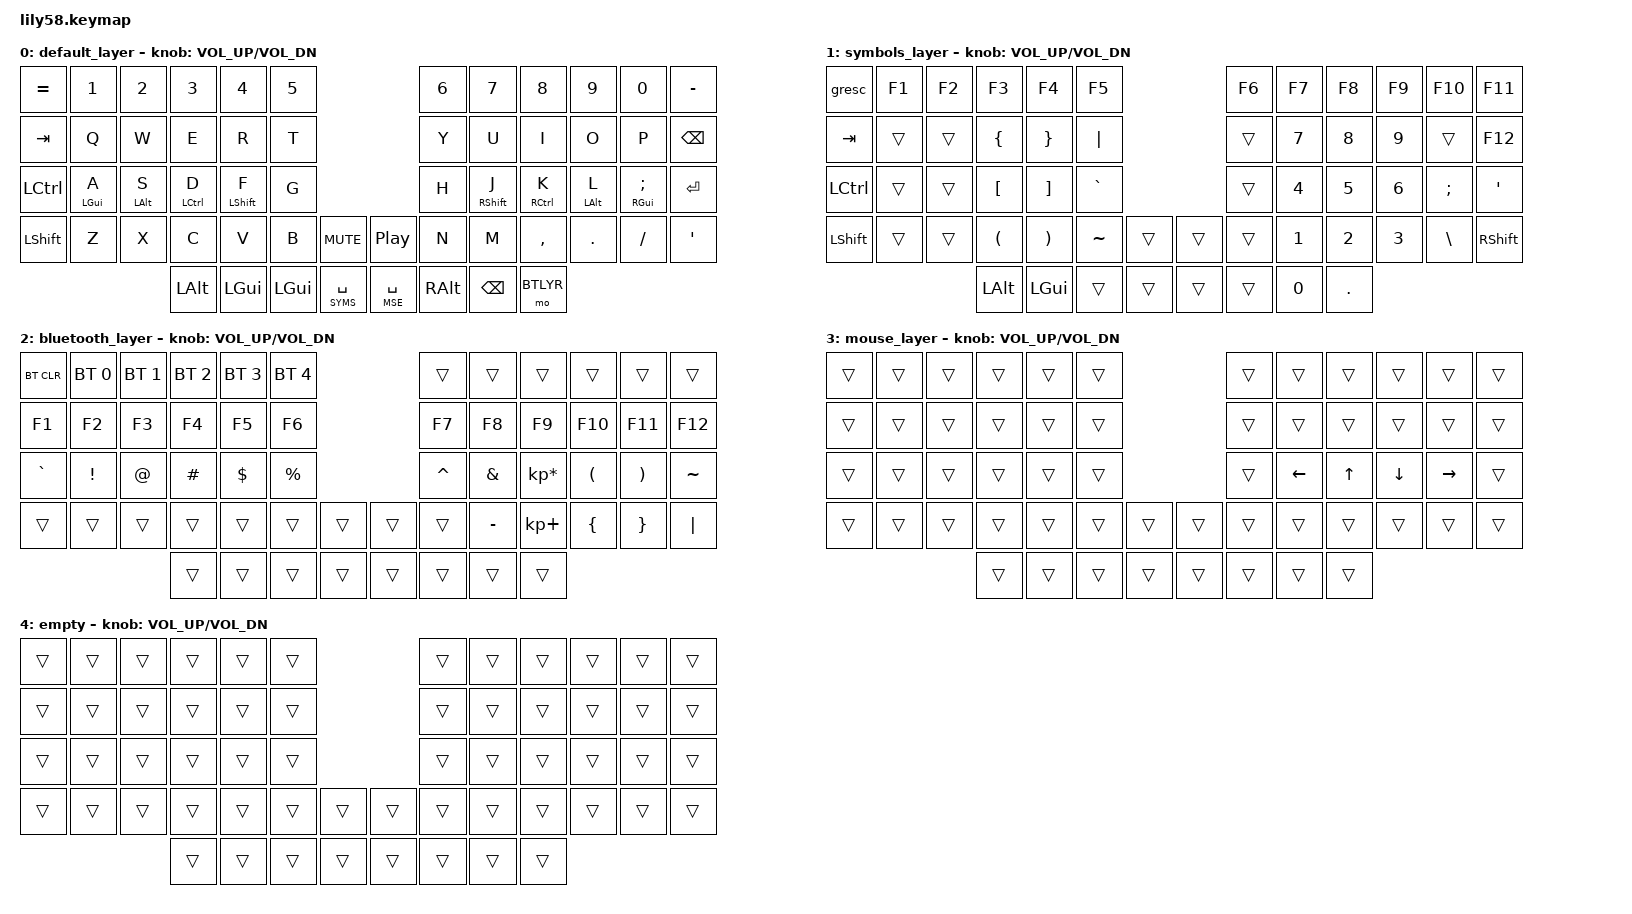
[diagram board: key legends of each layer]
/*
 * Copyright (c) 2020 The ZMK Contributors
 *
 * SPDX-License-Identifier: MIT
 */

#include <behaviors.dtsi>
#include <dt-bindings/zmk/keys.h>
#include <dt-bindings/zmk/bt.h>
#include <dt-bindings/zmk/outputs.h>
#include <dt-bindings/zmk/ext_power.h>

// Layer aliases
#define DEFAULT 0
#define SYMS 1
#define BTLYR 2
#define MSE 3
#define EMPTY 4

// Define our mod-tap behaviour
&mt {
	flavor = "tap-preferred";
	tapping-term-ms = <300>;
};

// Define our layer-tap behaviour
&lt {
    flavor = "balanced";
    tapping-term-ms = <300>;
};
// Keymaps!
/ {
	keymap {
		compatible = "zmk,keymap";

		default_layer {
			bindings = <
// ╭──────────┬───────────┬───────────┬────────────┬───────────┬───────────╮					  	  		  ╭───────────┬────────────┬───────────┬───────────┬─────────────┬───────────────╮
	&kp EQUAL	&kp N1 		&kp N2 		&kp N3   		&kp N4 		&kp N5                        	  		    &kp N6		&kp N7			&kp N8		&kp N9		&kp N0			&kp MINUS
// ├──────────┼───────────┼───────────┼────────────┼───────────┼───────────┤					  	  		  ├───────────┼────────────┼───────────┼───────────┼─────────────┼───────────────┤
	&kp TAB		&kp Q  		&kp W  		&kp E    		&kp R  		&kp T                         	  		    &kp Y		&kp U			&kp I		&kp O		&kp P			&kp BSPC
// ├──────────┼───────────┼───────────┼────────────┼───────────┼───────────┤					  	  		  ├───────────┼────────────┼───────────┼───────────┼─────────────┼───────────────┤
	&kp LCTRL  	&mt LGUI A  &mt LALT S  &mt LCTRL D	&mt LSHIFT F	&kp G                         	  		    &kp H		&mt RSHIFT J	&mt RCTRL K	&mt LALT L  &mt RGUI SEMI	&kp RET
// ├──────────┼───────────┼───────────┼────────────┼───────────┼───────────┼──────────────╮		╭─────────────┼───────────┼────────────┼───────────┼───────────┼─────────────┼───────────────┤
	 &kp LSHFT	&kp Z	  	&kp X	    &kp C	  	&kp V	  		&kp B 	  &kp C_MUTE				&kp C_PP	&kp N	  	&kp M	  		&kp COMMA	  &kp DOT	  &kp SLASH	  	&kp SQT
// ╰──────────┴───────────┴───────────┼────────────┼───────────┼───────────┼──────────────┤		├─────────────┼───────────┼────────────┼───────────┼───────────┴─────────────┴───────────────╯
                        				&kp LALT 	&kp LGUI 	&kp LGUI 	&lt SYMS SPACE		 &lt MSE SPACE	&kp RALT	&kp BSPC	&mo BTLYR
// 									  ╰────────────┴───────────┴───────────┴──────────────╯		╰─────────────┴───────────┴────────────┴───────────╯

			>;
			sensor-bindings = <&inc_dec_kp C_VOL_UP C_VOL_DN>;
		};

		symbols_layer {
			bindings = <
// ╭──────────┬───────────┬───────────┬────────────┬───────────┬───────────╮					  	  		  ╭───────────┬────────────┬───────────┬───────────┬─────────────┬───────────────╮
   	&gresc   	&kp F1		&kp F2		&kp F3		  &kp F4	 &kp F5											&kp F6		 &kp F7		  &kp F8	  &kp F9	  &kp F10		&kp F11
// ├──────────┼───────────┼───────────┼────────────┼───────────┼───────────┤					  	  		  ├───────────┼────────────┼───────────┼───────────┼─────────────┼───────────────┤
	&kp TAB		&trans		&trans		&kp LBRC	  &kp RBRC	 &kp PIPE										&trans		&kp N7		  &kp N8		&kp N9		&trans		&kp F12
// ├──────────┼───────────┼───────────┼────────────┼───────────┼───────────┤					  	  		  ├───────────┼────────────┼───────────┼───────────┼─────────────┼───────────────┤
	&kp LCTRL	 &trans		&trans		&kp LBKT	  &kp RBKT	 &kp GRAVE										&trans 		&kp N4		  &kp N5		&kp N6		&kp SEMI	&kp SQT
// ├──────────┼───────────┼───────────┼────────────┼───────────┼───────────┼──────────────╮		╭─────────────┼───────────┼────────────┼───────────┼───────────┼─────────────┼───────────────┤
	&kp LSHFT 	&trans		&trans		&kp LPAR	  &kp RPAR	 &kp TILDE		&trans				&trans		&trans		&kp N1		  &kp N2		&kp N3		&kp BSLH	&kp RSHFT
// ╰──────────┴───────────┴───────────┼────────────┼───────────┼───────────┼──────────────┤		├─────────────┼───────────┼────────────┼───────────┼───────────┴─────────────┴───────────────╯
										&kp LALT	&kp LGUI		&trans		&trans				&trans		&trans		&kp N0		&kp DOT
// 									  ╰────────────┴───────────┴───────────┴──────────────╯		╰─────────────┴───────────┴────────────┴───────────╯
			>;

			sensor-bindings = <&inc_dec_kp C_VOL_UP C_VOL_DN>;
		};

		bluetooth_layer {
			bindings = <
// ╭───────────┬────────────┬───────────────┬───────────────┬──────────────┬────────────────╮										╭───────────┬────────────┬───────────┬───────────┬─────────────┬───────────────╮
	&bt BT_CLR	&bt BT_SEL 0	&bt BT_SEL 1	&bt BT_SEL 2	&bt BT_SEL 3	&bt BT_SEL 4											&trans		&trans		&trans			&trans		&trans		&trans
// ├───────────┼────────────┼───────────────┼───────────────┼──────────────┼────────────────┤										├───────────┼────────────┼───────────┼───────────┼─────────────┼───────────────┤
	&kp F1		&kp F2			&kp F3			&kp F4			&kp F5			&kp F6													&kp F7		&kp F8		&kp F9			&kp F10		&kp F11		&kp F12
// ├───────────┼────────────┼───────────────┼───────────────┼──────────────┼────────────────┤										├───────────┼────────────┼───────────┼───────────┼─────────────┼───────────────┤
	&kp GRAVE	&kp EXCL     	&kp AT			&kp HASH		&kp DOLLAR		&kp PRCNT												&kp CARET	&kp AMPS	&kp KP_MULTIPLY	&kp LPAR	&kp RPAR	&kp TILDE
// ├───────────┼────────────┼───────────────┼───────────────┼──────────────┼────────────────┼──────────────╮		╭───────────────┼───────────┼────────────┼───────────┼───────────┼─────────────┼───────────────┤
	&trans		&trans			&trans 			&trans			&trans			&trans		&trans							&trans    	&trans    	&kp MINUS 	&kp KP_PLUS		&kp LBRC	&kp RBRC	&kp PIPE
// ╰───────────┴────────────┴───────────────┼───────────────┼──────────────┼────────────────┼──────────────┤		├───────────────┼───────────┼────────────┼───────────┼───────────┴─────────────┴───────────────╯
												&trans		&trans			&trans			&trans							&trans		&trans		&trans			&trans
// 											╰───────────────┴──────────────┴────────────────┴──────────────╯		╰───────────────┴───────────┴────────────┴───────────╯
// Power options
//&ext_power EP_ON
//&ext_power EP_OFF
//&ext_power EP_TOG
			>;
			sensor-bindings = <&inc_dec_kp C_VOL_UP C_VOL_DN>;
		};

		mouse_layer {
			bindings = <
// ╭──────────┬───────────┬───────────┬────────────┬───────────┬───────────╮					  	  		  ╭───────────┬────────────┬───────────┬───────────┬─────────────┬───────────────╮
	 &trans		  &trans	  &trans	  &trans	  &trans	  &trans										  &trans	  &trans	  &trans	  &trans	  &trans	  	&trans
// ├──────────┼───────────┼───────────┼────────────┼───────────┼───────────┤					  	  		  ├───────────┼────────────┼───────────┼───────────┼─────────────┼───────────────┤
	 &trans		  &trans	  &trans	  &trans	  &trans	  &trans										  &trans	  &trans	  &trans	  &trans	  &trans	  	&trans
// ├──────────┼───────────┼───────────┼────────────┼───────────┼───────────┤					  	  		  ├───────────┼────────────┼───────────┼───────────┼─────────────┼───────────────┤
	 &trans		  &trans	  &trans	  &trans	  &trans	  &trans										  &trans	  &kp LEFT	  &kp UP	  &kp DOWN	  &kp RIGHT	  	&trans
// ├──────────┼───────────┼───────────┼────────────┼───────────┼───────────┼──────────────╮		╭─────────────┼───────────┼────────────┼───────────┼───────────┼─────────────┼───────────────┤
	 &trans		  &trans	  &trans	  &trans	  &trans	  &trans	  &trans				&trans		  &trans	  &trans	  &trans	  &trans	  &trans	  	&trans
// ╰──────────┴───────────┴───────────┼────────────┼───────────┼───────────┼──────────────┤		├─────────────┼───────────┼────────────┼───────────┼───────────┴─────────────┴───────────────╯
										&trans		  &trans		&trans		&trans				&trans		&trans		&trans		 &trans
// 									  ╰────────────┴───────────┴───────────┴──────────────╯		╰─────────────┴───────────┴────────────┴───────────╯
			>;
			sensor-bindings = <&inc_dec_kp C_VOL_UP C_VOL_DN>;
		};

		empty {
			bindings = <
// ╭──────────┬───────────┬───────────┬────────────┬───────────┬───────────╮					  	  		  ╭───────────┬────────────┬───────────┬───────────┬─────────────┬───────────────╮
	 &trans		  &trans	  &trans	  &trans	  &trans	  &trans										  &trans	  &trans	  &trans	  &trans	  &trans	  	&trans
// ├──────────┼───────────┼───────────┼────────────┼───────────┼───────────┤					  	  		  ├───────────┼────────────┼───────────┼───────────┼─────────────┼───────────────┤
	 &trans		  &trans	  &trans	  &trans	  &trans	  &trans										  &trans	  &trans	  &trans	  &trans	  &trans	  	&trans
// ├──────────┼───────────┼───────────┼────────────┼───────────┼───────────┤					  	  		  ├───────────┼────────────┼───────────┼───────────┼─────────────┼───────────────┤
	 &trans		  &trans	  &trans	  &trans	  &trans	  &trans										  &trans	  &trans	  &trans	  &trans	  &trans	  	&trans
// ├──────────┼───────────┼───────────┼────────────┼───────────┼───────────┼──────────────╮		╭─────────────┼───────────┼────────────┼───────────┼───────────┼─────────────┼───────────────┤
	 &trans		  &trans	  &trans	  &trans	  &trans	  &trans	  &trans				&trans		  &trans	  &trans	  &trans	  &trans	  &trans	  	&trans
// ╰──────────┴───────────┴───────────┼────────────┼───────────┼───────────┼──────────────┤		├─────────────┼───────────┼────────────┼───────────┼───────────┴─────────────┴───────────────╯
										&trans		  &trans		&trans		&trans				&trans		&trans		&trans		 &trans
// 									  ╰────────────┴───────────┴───────────┴──────────────╯		╰─────────────┴───────────┴────────────┴───────────╯
			>;
			sensor-bindings = <&inc_dec_kp C_VOL_UP C_VOL_DN>;
		};
	};
};
// ╭──────────┬───────────┬───────────┬────────────┬───────────┬───────────╮					  	  		  ╭───────────┬────────────┬───────────┬───────────┬─────────────┬───────────────╮
// ├──────────┼───────────┼───────────┼────────────┼───────────┼───────────┤					  	  		  ├───────────┼────────────┼───────────┼───────────┼─────────────┼───────────────┤
// ├──────────┼───────────┼───────────┼────────────┼───────────┼───────────┤					  	  		  ├───────────┼────────────┼───────────┼───────────┼─────────────┼───────────────┤
// ├──────────┼───────────┼───────────┼────────────┼───────────┼───────────┼──────────────╮		╭─────────────┼───────────┼────────────┼───────────┼───────────┼─────────────┼───────────────┤
// ╰──────────┴───────────┴───────────┼────────────┼───────────┼───────────┼──────────────┤		├─────────────┼───────────┼────────────┼───────────┼───────────┴─────────────┴───────────────╯
// 									  ╰────────────┴───────────┴───────────┴──────────────╯		╰─────────────┴───────────┴────────────┴───────────╯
